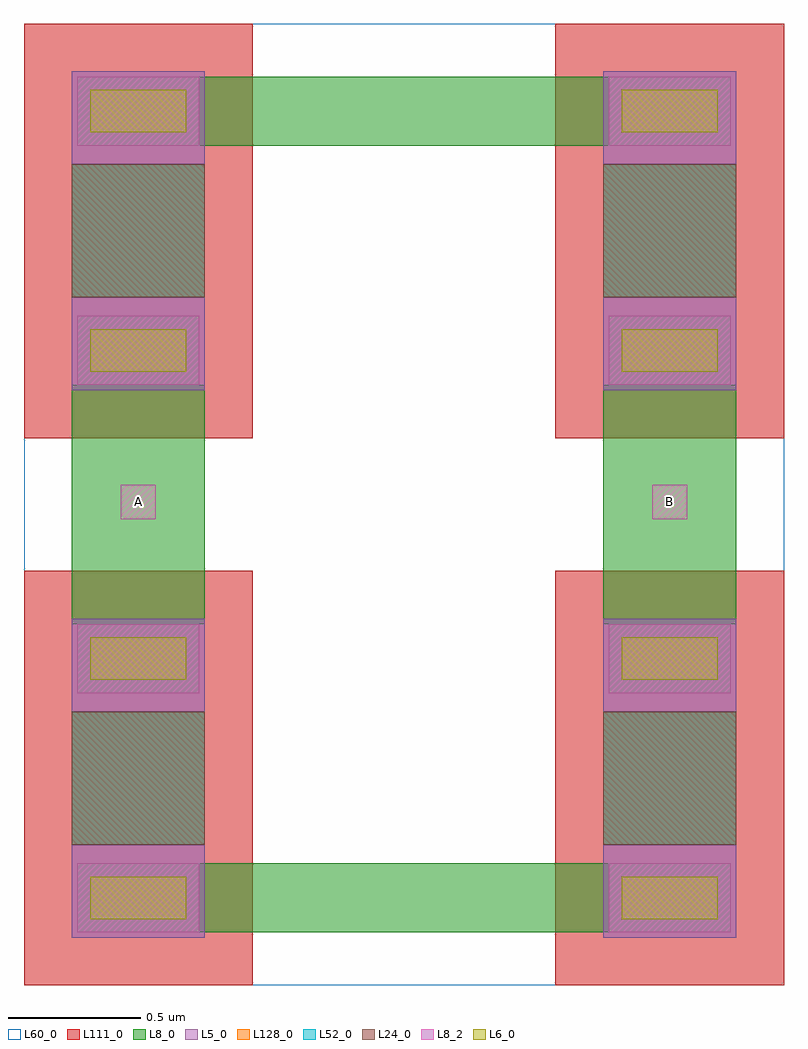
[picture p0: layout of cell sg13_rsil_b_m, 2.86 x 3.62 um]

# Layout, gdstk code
from math import pi, radians
import gdstk
lib = gdstk.Library(unit=1e-6, precision=1e-09)
def R(c, l, rs):  # rectangles x0, y0, x1, y1
    for r in rs: c.add(gdstk.rectangle(r[:2], r[2:], *l))
L5_0 = (5, 0)
L6_0 = (6, 0)
L8_0 = (8, 0)
L8_2 = (8, 2)
L24_0 = (24, 0)
L52_0 = (52, 0)
L60_0 = (60, 0)
L111_0 = (111, 0)
L128_0 = (128, 0)

rsil = lib.new_cell('rsil')
R(rsil, L5_0, [(0,-0.35,0.5,0), (2,-0.35,2.5,0), (0,0.5,0.5,0.85), (2,0.5,2.5,0.85)])
R(rsil, L6_0, [(0.07,-0.28,0.43,-0.12), (2.07,-0.28,2.43,-0.12), (0.07,0.62,0.43,0.78), (2.07,0.62,2.43,0.78)])
R(rsil, L8_0, [(0.02,-0.33,0.48,-0.07), (2.02,-0.33,2.48,-0.07), (0.02,0.57,0.48,0.83), (0.02,0.57,2.48,0.83), (2.02,0.57,2.48,0.83)])
R(rsil, L8_2, [(0.02,-0.33,0.48,-0.07), (2.02,-0.33,2.48,-0.07), (0.02,0.57,0.48,0.83), (2.02,0.57,2.48,0.83)])
R(rsil, L24_0, [(0,0,0.5,0.5), (2,0,2.5,0.5)])
R(rsil, L52_0, [(0,0,0.5,0.5), (2,0,2.5,0.5)])
R(rsil, L111_0, [(-0.18,-0.53,0.68,0), (1.82,-0.53,2.68,0), (-0.18,0,0.68,0.5), (-0.18,0,0.68,1.03), (1.82,0,2.68,0.5), (1.82,0,2.68,1.03)])
R(rsil, L128_0, [(0,0,0.5,0.5), (2,0,2.5,0.5)])
rsil.add(gdstk.Label('rsil r=24.9', (0.25,0.25), layer=63, texttype=0))
rsil.add(gdstk.Label('rsil r=24.9', (0.25,0.25), layer=63, texttype=0))
rsil.add(gdstk.Label('rsil', (0.25,0.25), layer=52, texttype=0))
rsil.add(gdstk.Label('rsil', (2.25,0.25), layer=52, texttype=0))

sg13_rsil_b_m = lib.new_cell('sg13_rsil_b_m')
R(sg13_rsil_b_m, L8_2, [(0.365,-0.305,0.495,-0.175), (2.365,-0.305,2.495,-0.175)])
R(sg13_rsil_b_m, L60_0, [(0,-2.06,2.86,1.56)])
sg13_rsil_b_m.add(gdstk.FlexPath([(0.43,0.2),(0.43,-0.7)], 0.5, ends="flush", simple_path=True, layer=8, datatype=0))  # L8_0
sg13_rsil_b_m.add(gdstk.FlexPath([(2.43,-0.7),(2.43,0.2)], 0.5, ends="flush", simple_path=True, layer=8, datatype=0))  # L8_0
sg13_rsil_b_m.add(gdstk.Reference(rsil, (0.18,0.53)))
sg13_rsil_b_m.add(gdstk.Reference(rsil, (2.68,-1.03), rotation=pi))
sg13_rsil_b_m.add(gdstk.Label('A', (0.43,-0.24), layer=8, texttype=25))
sg13_rsil_b_m.add(gdstk.Label('B', (2.43,-0.24), layer=8, texttype=25))

lib.write_gds('sg13_rsil_b_m.gds')
